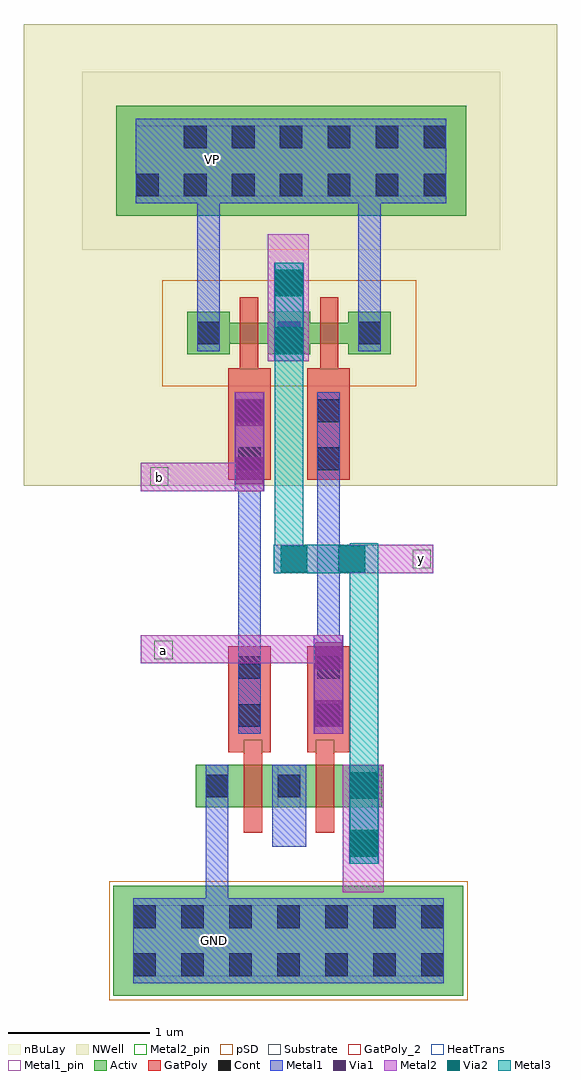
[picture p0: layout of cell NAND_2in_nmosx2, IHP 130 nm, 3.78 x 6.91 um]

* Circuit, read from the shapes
.subckt NAND_2in_nmosx2 GND VP a b y
XM1 n1 b GND GND sg13_lv_nmos w=0.3u l=0.13u
XM2 y a n1 GND sg13_lv_nmos w=0.3u l=0.13u
XM3 y b VP VP sg13_lv_pmos w=0.15u l=0.13u
XM4 VP a y VP sg13_lv_pmos w=0.15u l=0.13u
.ends

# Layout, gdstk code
from math import pi, radians
import gdstk
lib = gdstk.Library(unit=1e-6, precision=1e-09)
def R(c, l, rs):  # rectangles x0, y0, x1, y1
    for r in rs: c.add(gdstk.rectangle(r[:2], r[2:], *l))
def A(c, l, x, y, w, h, nx, ny, dx, dy):  # array of equal rectangles
    R(c, l, [(x+i*dx, y+j*dy, x+i*dx+w, y+j*dy+h) for i in range(nx) for j in range(ny)])
Activ = (1, 0)
GatPoly = (5, 0)
GatPoly_2 = (5, 2)
Cont = (6, 0)
Metal1 = (8, 0)
Metal1_pin = (8, 2)
Metal2 = (10, 0)
Metal2_pin = (10, 2)
pSD = (14, 0)
Via1 = (19, 0)
Via2 = (29, 0)
Metal3 = (30, 0)
NWell = (31, 0)
nBuLay = (32, 0)
Substrate = (40, 0)
HeatTrans = (51, 0)

via_3 = lib.new_cell('Via$3')
R(via_3, Metal2, [(-0.1,-0.35,0.1,0.35)])
R(via_3, Via2, [(-0.095,-0.3,0.095,-0.11), (-0.095,0.11,0.095,0.3)])
R(via_3, Metal3, [(-0.1,-0.35,0.1,0.35)])

via_2 = lib.new_cell('Via$2')
R(via_2, Metal1, [(-0.105,-0.35,0.105,0.35)])
R(via_2, Metal2, [(-0.1,-0.35,0.1,0.35)])
R(via_2, Via1, [(-0.095,-0.3,0.095,-0.11), (-0.095,0.11,0.095,0.3)])

ntap = lib.new_cell('ntap')
R(ntap, Activ, [(-0.665,-0.22,0.115,0.56)])
R(ntap, Cont, [(-0.525,-0.08,-0.365,0.08), (-0.525,0.26,-0.365,0.42), (-0.185,0.26,-0.025,0.42)])
R(ntap, Metal1, [(-0.525,-0.13,-0.025,0.47)])
R(ntap, Metal1_pin, [(-0.525,-0.08,-0.025,0.42)])
R(ntap, NWell, [(-0.905,-0.46,0.355,0.8)])
R(ntap, nBuLay, [(-0.905,-0.46,0.355,0.8)])

nmos = lib.new_cell('nmos')
A(nmos, Activ, 0, 0, 0.3, 0.3, 3, 1, 0.51, 0)
R(nmos, Activ, [(0,0,1.32,0.3)])
R(nmos, GatPoly, [(0.34,-0.18,0.47,0.48), (0.85,-0.18,0.98,0.48)])
R(nmos, GatPoly_2, [(0.34,-0.18,0.47,0.48)])
A(nmos, Cont, 0.07, 0.07, 0.16, 0.16, 3, 1, 0.51, 0)
A(nmos, Metal1, 0.07, 0, 0.16, 0.3, 3, 1, 0.51, 0)
R(nmos, Metal1_pin, [(0.07,0,0.23,0.3), (0.58,0,0.74,0.3)])
R(nmos, HeatTrans, [(0.34,-0.18,0.47,0.48), (0.85,-0.18,0.98,0.48)])
nmos.add(gdstk.Label('nmos', (0.405,0.15), layer=63, texttype=0))
nmos.add(gdstk.Label('nmos', (0.405,0.15), layer=51, texttype=0))
nmos.add(gdstk.Label('nmos', (0.915,0.15), layer=51, texttype=0))

ptap = lib.new_cell('ptap')
R(ptap, Activ, [(-0.425,-1.215,0.355,-0.435)])
R(ptap, Cont, [(-0.285,-1.075,-0.125,-0.915), (0.055,-1.075,0.215,-0.915), (-0.285,-0.735,-0.125,-0.575), (0.055,-0.735,0.215,-0.575)])
R(ptap, Metal1, [(-0.285,-1.125,0.215,-0.525)])
R(ptap, Metal1_pin, [(-0.285,-1.075,0.215,-0.575)])
R(ptap, pSD, [(-0.455,-1.245,0.385,-0.405)])

via = lib.new_cell('Via')
R(via, GatPoly, [(-0.32,-0.15,0.32,0.15)])
R(via, Cont, [(-0.25,-0.08,-0.09,0.08), (0.09,-0.08,0.25,0.08)])
R(via, Metal1, [(-0.3,-0.08,0.3,0.08)])

pmos = lib.new_cell('pmos')
A(pmos, Activ, 0, 0, 0.3, 0.3, 3, 1, 0.57, 0)
R(pmos, Activ, [(0,0.075,1.44,0.225)])
R(pmos, GatPoly, [(0.37,-0.105,0.5,0.405), (0.37,-0.105,0.5,0.405), (0.94,-0.105,1.07,0.405)])
A(pmos, Cont, 0.07, 0.07, 0.16, 0.16, 3, 1, 0.57, 0)
R(pmos, Metal1, [(0.07,0.02,0.23,0.28), (0.07,0.02,0.23,0.28), (0.64,0.02,0.8,0.28), (0.64,0.02,0.8,0.28), (1.21,0.02,1.37,0.28)])
R(pmos, pSD, [(-0.18,-0.225,1.62,0.525)])
R(pmos, NWell, [(-0.31,-0.31,1.75,0.61)])
R(pmos, Substrate, [(1.14,0,1.44,0.3)])
R(pmos, HeatTrans, [(0.37,-0.105,0.5,0.405), (0.94,-0.105,1.07,0.405)])
pmos.add(gdstk.Label('pmos', (0.435,0.15), layer=63, texttype=0))
pmos.add(gdstk.Label('pmos', (0.435,0.15), layer=51, texttype=0))
pmos.add(gdstk.Label('pmos', (1.005,0.15), layer=51, texttype=0))

nand_2in_nmosx2 = lib.new_cell('NAND_2in_nmosx2')
R(nand_2in_nmosx2, GatPoly, [(0.6,-2.51,0.9,-2.4), (1.16,-2.51,1.46,-2.4), (0.6,0.06,0.9,0.21), (1.16,0.06,1.46,0.21), (0.68,0.16,0.81,0.25), (1.25,0.16,1.38,0.25)])
R(nand_2in_nmosx2, Metal1, [(0.44,-3.655,0.6,-2.875), (0.91,-3.18,1.15,-2.92), (0.91,-2.94,1.15,-2.6), (0.67,-2.21,0.83,-1.27), (1.23,-2.21,1.39,-1.27), (0.67,-1.31,0.83,-0.37), (1.23,-1.31,1.39,-0.37), (1.52,0.48,1.68,0.68), (0.38,0.49,0.54,0.63), (0.38,0.595,0.54,1.47), (1.52,0.595,1.68,1.42)])
R(nand_2in_nmosx2, Metal1_pin, [(0.435,-3.91,0.565,-3.78), (0.425,1.63,0.555,1.76)])
R(nand_2in_nmosx2, Metal2, [(1.41,-3.5,1.7,-3.3), (1.41,-3.3,1.7,-2.6), (-0.02,-1.88,0.41,-1.68), (0.41,-1.88,0.84,-1.68), (0.81,-1.88,1.24,-1.68), (1.62,-1.24,2.05,-1.04), (-0.02,-0.66,0.41,-0.46), (0.41,-0.66,0.84,-0.46), (0.88,0.26,1.17,0.46), (0.88,0.46,1.17,1.16)])
R(nand_2in_nmosx2, Metal2_pin, [(0.075,-1.85,0.205,-1.72), (1.905,-1.205,2.035,-1.075), (0.045,-0.62,0.175,-0.49)])
R(nand_2in_nmosx2, Metal3, [(1.46,-2.61,1.66,-2.41), (1.46,-2.44,1.66,-1.03), (0.93,-1.09,1.13,0.17), (0.93,0.1,1.13,0.2), (0.93,0.19,1.13,0.35)])
R(nand_2in_nmosx2, NWell, [(-0.85,-0.62,2.93,2.65)])
nand_2in_nmosx2.add(gdstk.Reference(via_3, (1.56,-2.95), rotation=pi))
nand_2in_nmosx2.add(gdstk.Reference(via_3, (1.03,0.61), rotation=pi))
nand_2in_nmosx2.add(gdstk.Reference(via_2, (1.56,-2.95), rotation=pi))
nand_2in_nmosx2.add(gdstk.Reference(via_2, (1.31,-2.03), rotation=pi))
nand_2in_nmosx2.add(gdstk.Reference(via_2, (0.75,-0.31), rotation=pi))
nand_2in_nmosx2.add(gdstk.Reference(via_2, (1.03,0.61), rotation=pi))
nand_2in_nmosx2.add(gdstk.Reference(ntap, (-0.08,1.85), rotation=pi))
nand_2in_nmosx2.add(gdstk.Reference(ntap, (0.26,1.85), rotation=pi))
nand_2in_nmosx2.add(gdstk.Reference(ntap, (0.6,1.85), rotation=pi))
nand_2in_nmosx2.add(gdstk.Reference(ntap, (0.94,1.85), rotation=pi))
nand_2in_nmosx2.add(gdstk.Reference(ntap, (1.28,1.85), rotation=pi))
nand_2in_nmosx2.add(gdstk.Reference(ntap, (1.62,1.85), rotation=pi))
nand_2in_nmosx2.add(gdstk.Reference(nmos, (1.69,-2.6), rotation=pi))
nand_2in_nmosx2.add(gdstk.Reference(ptap, (0.14,-4.67), rotation=pi))
nand_2in_nmosx2.add(gdstk.Reference(ptap, (0.48,-4.67), rotation=pi))
nand_2in_nmosx2.add(gdstk.Reference(ptap, (0.82,-4.67), rotation=pi))
nand_2in_nmosx2.add(gdstk.Reference(ptap, (1.16,-4.67), rotation=pi))
nand_2in_nmosx2.add(gdstk.Reference(ptap, (1.5,-4.67), rotation=pi))
nand_2in_nmosx2.add(gdstk.Reference(ptap, (1.84,-4.67), rotation=pi))
nand_2in_nmosx2.add(gdstk.Reference(via, (0.75,-2.08), rotation=3*pi/2))
nand_2in_nmosx2.add(gdstk.Reference(via, (1.31,-2.08), rotation=3*pi/2))
nand_2in_nmosx2.add(gdstk.Reference(via, (0.75,-0.26), rotation=3*pi/2))
nand_2in_nmosx2.add(gdstk.Reference(via, (1.31,-0.26), rotation=3*pi/2))
nand_2in_nmosx2.add(gdstk.Reference(via_3, (1.27,-1.14), rotation=3*pi/2))
nand_2in_nmosx2.add(gdstk.Reference(pmos, (1.75,0.61), rotation=pi))
nand_2in_nmosx2.add(gdstk.Label('y', (1.97,-1.14), layer=10, texttype=25))
nand_2in_nmosx2.add(gdstk.Label('b', (0.11,-0.56), layer=10, texttype=25))
nand_2in_nmosx2.add(gdstk.Label('a', (0.14,-1.79), layer=10, texttype=25))
nand_2in_nmosx2.add(gdstk.Label('GND', (0.5,-3.84), layer=8, texttype=25))
nand_2in_nmosx2.add(gdstk.Label('VP', (0.49,1.69), layer=8, texttype=25))

lib.write_gds('NAND_2in_nmosx2.gds')
